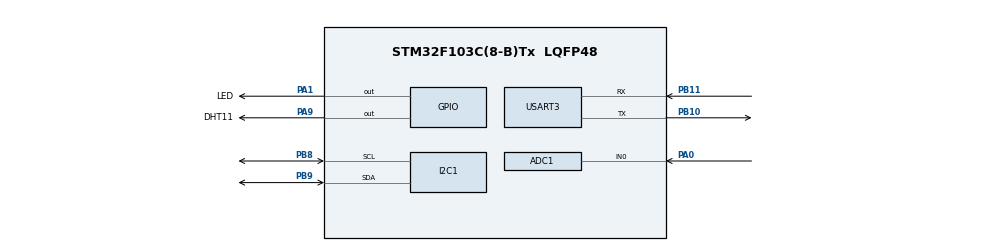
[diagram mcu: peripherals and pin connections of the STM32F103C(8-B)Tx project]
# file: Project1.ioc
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ADC1.Channel-0\#ChannelRegularConversion=ADC_CHANNEL_0
ADC1.ContinuousConvMode=ENABLE
ADC1.NbrOfConversion=1
ADC1.NbrOfConversionFlag=1
ADC1.Rank-0\#ChannelRegularConversion=1
ADC1.SamplingTime-0\#ChannelRegularConversion=ADC_SAMPLETIME_239CYCLES_5
ADC1.master=1
Mcu.Family=STM32F1
Mcu.Name=STM32F103C(8-B)Tx
Mcu.Package=LQFP48
NVIC.PriorityGroup=NVIC_PRIORITYGROUP_4
PA0-WKUP.Signal=ADCx_IN0
PA1.GPIO_Label=LED
PA1.Signal=GPIO_Output
PA13.Mode=Serial_Wire
PA13.Signal=SYS_JTMS-SWDIO
PA14.Mode=Serial_Wire
PA14.Signal=SYS_JTCK-SWCLK
PA9.GPIO_Label=DHT11
PA9.GPIO_Speed=GPIO_SPEED_FREQ_HIGH
PA9.PinState=GPIO_PIN_SET
PA9.Signal=GPIO_Output
PB10.Mode=Asynchronous
PB10.Signal=USART3_TX
PB11.Mode=Asynchronous
PB11.Signal=USART3_RX
PB8.Mode=I2C
PB8.Signal=I2C1_SCL
PB9.Mode=I2C
PB9.Signal=I2C1_SDA
PC14-OSC32_IN.Mode=LSE-External-Oscillator
PC14-OSC32_IN.Signal=RCC_OSC32_IN
PC15-OSC32_OUT.Mode=LSE-External-Oscillator
PC15-OSC32_OUT.Signal=RCC_OSC32_OUT
PD0-OSC_IN.Mode=HSE-External-Oscillator
PD0-OSC_IN.Signal=RCC_OSC_IN
PD1-OSC_OUT.Mode=HSE-External-Oscillator
PD1-OSC_OUT.Signal=RCC_OSC_OUT
ProjectManager.HeapSize=0x200
ProjectManager.StackSize=0x400
ProjectManager.TargetToolchain=CMake
RCC.AHBFreq_Value=16000000
RCC.APB1CLKDivider=RCC_HCLK_DIV2
RCC.APB1Freq_Value=8000000
RCC.APB1TimFreq_Value=16000000
RCC.APB2Freq_Value=16000000
RCC.APB2TimFreq_Value=16000000
RCC.HCLKFreq_Value=16000000
RCC.PLLSourceVirtual=RCC_PLLSOURCE_HSE
RCC.SYSCLKFreq_VALUE=16000000
RCC.SYSCLKSource=RCC_SYSCLKSOURCE_PLLCLK
RCC.USBFreq_Value=16000000
RTC.Date=21
RTC.Hours=11
RTC.Minutes=50
RTC.Month=RTC_MONTH_JULY
RTC.WeekDay=RTC_WEEKDAY_TUESDAY
RTC.Year=26
SH.ADCx_IN0.0=ADC1_IN0,IN0
TIM2.Prescaler=71
USART3.VirtualMode=VM_ASYNC
VP_RTC_VS_RTC_Activate.Mode=RTC_Enabled
VP_RTC_VS_RTC_Calendar.Mode=RTC_Calendar
VP_TIM2_VS_ClockSourceINT.Mode=Internal
board=custom

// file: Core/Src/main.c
/* USER CODE BEGIN Header */
/**
  ******************************************************************************
  * @file           : main.c
  * @brief          : Main program body
  ******************************************************************************
  * @attention
  *
  * Copyright (c) 2026 STMicroelectronics.
  * All rights reserved.
  *
  * This software is licensed under terms that can be found in the LICENSE file
  * in the root directory of this software component.
  * If no LICENSE file comes with this software, it is provided AS-IS.
  *
  ******************************************************************************
  */
/* USER CODE END Header */
#include "main.h"
#include "adc.h"
#include "i2c.h"
#include "rtc.h"
#include "tim.h"
#include "usart.h"
#include "gpio.h"

/* USER CODE BEGIN Includes */
#include "led.h"
#include "OLED.h"
#include "dht11.h"
#include "5516.h"
#include "Serial.h"
#include <stdio.h>
/* USER CODE END Includes */

void SystemClock_Config(void);

int main(void)
{

  /* MCU Configuration--------------------------------------------------------*/

  /* Reset of all peripherals, Initializes the Flash interface and the Systick. */
  HAL_Init();

  /* Configure the system clock */
  SystemClock_Config();

  /* Initialize all configured peripherals */
  MX_GPIO_Init();
  MX_I2C1_Init();
  MX_TIM2_Init();
  MX_ADC1_Init();
  MX_USART3_UART_Init();
  MX_RTC_Init();
  /* USER CODE BEGIN 2 */
  HAL_TIM_Base_Start(&htim2);
  LED_Init();
  OLED_Init();
  DHT11_Init();
  LightSensor_Init();
  Serial_Init();
  OLED_ShowString(0, 0, "System Starting...");
  OLED_UpdateScreen();
  /* USER CODE END 2 */

  /* Infinite loop */
  while (1)
  {

    /* USER CODE BEGIN 3 */
    uint8_t temperature, humidity;
    int light_percentage;
    char buf[20];

    // 0. 先翻转 LED 状态，确保接下来的显示与实际状态一致
    HAL_GPIO_TogglePin(LED_GPIO_Port, LED_Pin);

    // 1. 清除显存准备刷新
    OLED_Clear();

    // 2. 第一行：显示 LED 状态
    if (HAL_GPIO_ReadPin(LED_GPIO_Port, LED_Pin) == GPIO_PIN_RESET) {
        OLED_ShowString(0, 0, "LED: ON ");
    } else {
        OLED_ShowString(0, 0, "LED: OFF");
    }

    // 3. 读取传感器数据
    uint8_t dht_ok = (DHT11_Read_Data(&temperature, &humidity) == 0);
    light_percentage = LightSensor_GetPercentage();

    // 4. OLED 显示逻辑
    if (dht_ok)
    {
        sprintf(buf, "T: %d C", temperature);
        OLED_ShowString(0, 16, buf);
        sprintf(buf, "H: %d %%", humidity);
        OLED_ShowString(0, 32, buf);
    }
    else
    {
        OLED_ShowString(0, 16, "T: Error");
        OLED_ShowString(0, 32, "H: Error");
    }

    sprintf(buf, "L: %d %%", light_percentage);
    OLED_ShowString(0, 48, buf);

    // 5. 串口发送数据 (使用真正的 RTC 时间)
    RTC_TimeTypeDef sTime = {0};
    RTC_DateTypeDef sDate = {0};
    // 注意：HAL库要求必须先调用 GetTime 再调用 GetDate
    HAL_RTC_GetTime(&hrtc, &sTime, RTC_FORMAT_BIN);
    HAL_RTC_GetDate(&hrtc, &sDate, RTC_FORMAT_BIN);

    printf("[%04d-%02d-%02d %02d:%02d:%02d] T:%dC, H:%d%%, L:%d%%\r\n",
           2000 + sDate.Year, sDate.Month, sDate.Date,
           sTime.Hours, sTime.Minutes, sTime.Seconds,
           temperature, humidity, light_percentage);

    // 6. 统一刷新屏幕
    OLED_UpdateScreen();

    // 7. 延时 1 秒，使显示更稳定且易于观察
    HAL_Delay(1000);
  }
  /* USER CODE END 3 */
}

void SystemClock_Config(void)
{
  RCC_OscInitTypeDef RCC_OscInitStruct = {0};
  RCC_ClkInitTypeDef RCC_ClkInitStruct = {0};
  RCC_PeriphCLKInitTypeDef PeriphClkInit = {0};

  /** Initializes the RCC Oscillators according to the specified parameters
  * in the RCC_OscInitTypeDef structure.
  */
  RCC_OscInitStruct.OscillatorType = RCC_OSCILLATORTYPE_LSI|RCC_OSCILLATORTYPE_HSE;
  RCC_OscInitStruct.HSEState = RCC_HSE_ON;
  RCC_OscInitStruct.HSEPredivValue = RCC_HSE_PREDIV_DIV1;
  RCC_OscInitStruct.HSIState = RCC_HSI_ON;
  RCC_OscInitStruct.LSIState = RCC_LSI_ON;
  RCC_OscInitStruct.PLL.PLLState = RCC_PLL_ON;
  RCC_OscInitStruct.PLL.PLLSource = RCC_PLLSOURCE_HSE;
  RCC_OscInitStruct.PLL.PLLMUL = RCC_PLL_MUL9;
  if (HAL_RCC_OscConfig(&RCC_OscInitStruct) != HAL_OK)
  {
    Error_Handler();
  }

  /** Initializes the CPU, AHB and APB buses clocks
  */
  RCC_ClkInitStruct.ClockType = RCC_CLOCKTYPE_HCLK|RCC_CLOCKTYPE_SYSCLK
                              |RCC_CLOCKTYPE_PCLK1|RCC_CLOCKTYPE_PCLK2;
  RCC_ClkInitStruct.SYSCLKSource = RCC_SYSCLKSOURCE_PLLCLK;
  RCC_ClkInitStruct.AHBCLKDivider = RCC_SYSCLK_DIV1;
  RCC_ClkInitStruct.APB1CLKDivider = RCC_HCLK_DIV2;
  RCC_ClkInitStruct.APB2CLKDivider = RCC_HCLK_DIV1;

  if (HAL_RCC_ClockConfig(&RCC_ClkInitStruct, FLASH_LATENCY_2) != HAL_OK)
  {
    Error_Handler();
  }
  PeriphClkInit.PeriphClockSelection = RCC_PERIPHCLK_RTC|RCC_PERIPHCLK_ADC;
  PeriphClkInit.RTCClockSelection = RCC_RTCCLKSOURCE_LSI;
  PeriphClkInit.AdcClockSelection = RCC_ADCPCLK2_DIV6;
  if (HAL_RCCEx_PeriphCLKConfig(&PeriphClkInit) != HAL_OK)
  {
    Error_Handler();
  }
}

void Error_Handler(void)
{
  __disable_irq();
  while (1)
  {
  }
}
